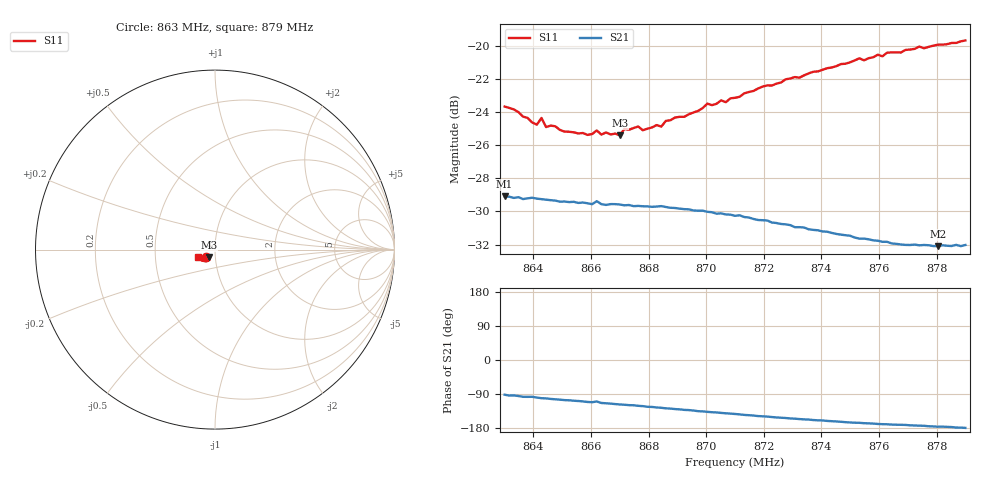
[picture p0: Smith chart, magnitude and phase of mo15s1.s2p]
# HZ S RI R 50
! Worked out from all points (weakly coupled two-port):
!   101 points, 863 MHz to 879 MHz, reference 50 ohm
!   highest |S21| = -29.10 dB at 863 MHz (marker M1); lowest = -32.1 dB at 878.04 MHz (marker M2)
!   lowest |S11| = -25.4 dB at 867 MHz (marker M3), VSWR 1.11, Z = 46.7 - j3.97 ohm
!   |S11| at or under -10 dB: start of sweep to end of sweep
!   S12 and S22 are empty: the file has one direction only
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8.63e8  -0.0522 -0.0395  -0.000967 -0.0351  0 0  0 0
8.6412e8  -0.044 -0.0374  -0.00549 -0.0341  0 0  0 0
8.6428e8  -0.0455 -0.0398  -0.00643 -0.0338  0 0  0 0
8.6444e8  -0.0424 -0.0378  -0.00672 -0.0336  0 0  0 0
8.6572e8  -0.0371 -0.0399  -0.0111 -0.0317  0 0  0 0
8.6588e8  -0.0367 -0.0393  -0.0119 -0.0313  0 0  0 0
8.662e8  -0.0359 -0.0423  -0.0113 -0.032  0 0  0 0
8.6636e8  -0.0359 -0.0402  -0.0132 -0.0305  0 0  0 0
8.67e8  -0.0328 -0.0424  -0.0152 -0.0295  0 0  0 0
8.6716e8  -0.0339 -0.0446  -0.0155 -0.0291  0 0  0 0
8.6764e8  -0.033 -0.0465  -0.0169 -0.0282  0 0  0 0
8.678e8  -0.0324 -0.0451  -0.0173 -0.0279  0 0  0 0
8.6844e8  -0.0313 -0.0476  -0.0193 -0.0265  0 0  0 0
8.686e8  -0.032 -0.0499  -0.0199 -0.0258  0 0  0 0
8.6924e8  -0.0327 -0.0515  -0.0214 -0.024  0 0  0 0
8.7004e8  -0.0359 -0.0564  -0.023 -0.0216  0 0  0 0
8.702e8  -0.0346 -0.0563  -0.0233 -0.0211  0 0  0 0
8.71e8  -0.0375 -0.0586  -0.0243 -0.0187  0 0  0 0
8.7372e8  -0.0525 -0.0647  -0.0259 -0.0102  0 0  0 0
8.7644e8  -0.0753 -0.0585  -0.025 -0.00422  0 0  0 0
8.7804e8  -0.0874 -0.0498  -0.0248 -0.00173  0 0  0 0
8.79e8  -0.0949 -0.0415  -0.025 -0.000357  0 0  0 0
